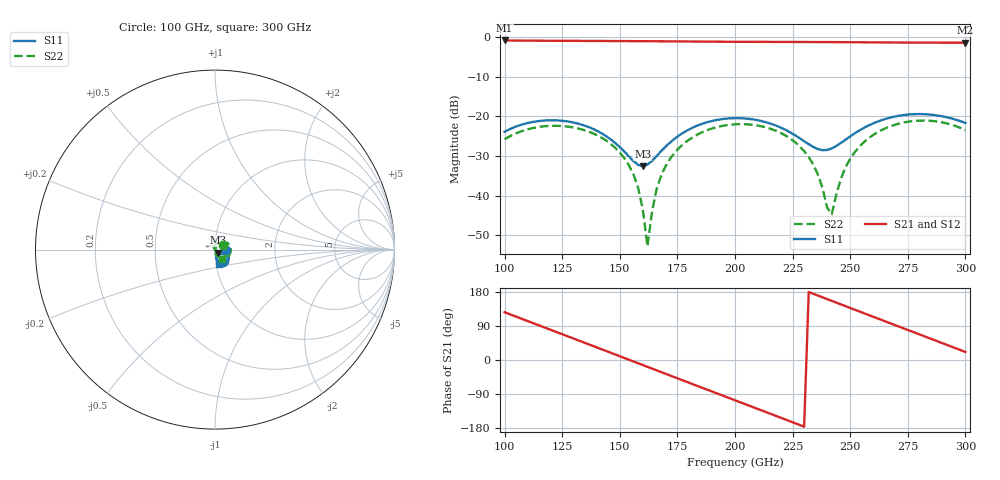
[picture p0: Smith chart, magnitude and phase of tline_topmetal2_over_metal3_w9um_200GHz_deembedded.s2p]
! Created with skrf 2.0.1 (http://scikit-rf.org).
# GHz S DB R 50.0
!freq dBS11 angS11 dBS21 angS21 dBS12 angS12 dBS22 angS22
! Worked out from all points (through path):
!   101 points, 100 GHz to 300 GHz, reference 50 ohm
!   highest |S21| = -0.84 dB at 100 GHz (marker M1); lowest = -1.4 dB at 300 GHz (marker M2)
!   group delay of S21, straight-line fit = 6.46 ps
!   lowest |S11| = -32.6 dB at 160 GHz (marker M3), VSWR 1.05, Z = 51.6 - j1.75 ohm
!   |S11| at or under -10 dB: start of sweep to end of sweep
!   |S22| runs from -52.8 to -21.1 dB; largest |S21 - S12| = 1.1e-14
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100  -23.90 -2.8  -0.84 126.0  -0.84 126.0  -25.79 31.2
116  -21.12 -32.1  -0.91 88.9  -0.91 88.9  -22.60 2.1
134  -22.20 -65.3  -0.96 47.2  -0.96 47.2  -23.39 -33.4
152  -28.93 -79.3  -1.00 5.3  -1.00 5.3  -30.60 -68.2
156  -31.35 -68.7  -1.01 -4.0  -1.01 -4.0  -34.79 -73.9
160  -32.60 -46.2  -1.03 -13.4  -1.03 -13.4  -43.58 -69.4
162  -32.20 -33.9  -1.03 -18.0  -1.03 -18.0  -52.79 -8.5
164  -31.24 -24.0  -1.04 -22.7  -1.04 -22.7  -44.02 60.5
168  -28.77 -13.6  -1.06 -32.0  -1.06 -32.0  -34.88 65.9
180  -23.33 -17.9  -1.11 -59.9  -1.11 -59.9  -25.91 44.7
190  -21.18 -32.5  -1.15 -83.1  -1.15 -83.1  -23.08 23.5
200  -20.47 -48.9  -1.18 -106.3  -1.18 -106.3  -22.02 1.6
220  -22.88 -76.5  -1.21 -152.7  -1.21 -152.7  -24.25 -44.6
234  -27.75 -69.3  -1.24 174.7  -1.24 174.7  -32.21 -84.3
240  -28.50 -48.5  -1.25 160.7  -1.25 160.7  -43.08 -135.7
242  -28.11 -41.5  -1.26 156.0  -1.26 156.0  -44.71 157.9
246  -26.71 -31.5  -1.27 146.7  -1.27 146.7  -35.69 99.7
250  -25.07 -27.1  -1.29 137.3  -1.29 137.3  -30.72 81.8
258  -22.31 -29.1  -1.32 118.7  -1.32 118.7  -25.53 58.2
268  -20.24 -39.9  -1.35 95.5  -1.35 95.5  -22.41 32.5
282  -19.46 -58.7  -1.39 63.0  -1.39 63.0  -21.07 -2.6
300  -21.67 -76.1  -1.42 21.2  -1.42 21.2  -23.53 -51.3
